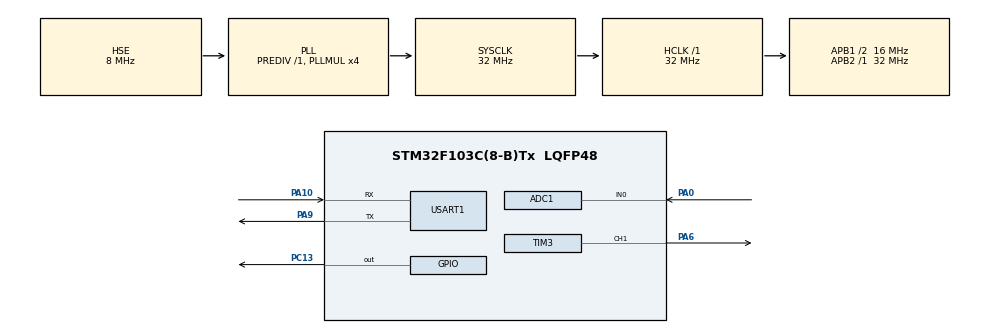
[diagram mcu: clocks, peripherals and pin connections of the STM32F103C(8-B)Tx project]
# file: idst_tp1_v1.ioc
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ADC1.Channel-0\#ChannelRegularConversion=ADC_CHANNEL_0
ADC1.NbrOfConversion=1
ADC1.NbrOfConversionFlag=1
ADC1.Rank-0\#ChannelRegularConversion=1
ADC1.SamplingTime-0\#ChannelRegularConversion=ADC_SAMPLETIME_1CYCLE_5
ADC1.master=1
Dma.ADC1.0.Direction=DMA_PERIPH_TO_MEMORY
Dma.ADC1.0.Instance=DMA1_Channel1
Dma.ADC1.0.MemDataAlignment=DMA_MDATAALIGN_WORD
Dma.ADC1.0.MemInc=DMA_MINC_ENABLE
Dma.ADC1.0.Mode=DMA_CIRCULAR
Dma.ADC1.0.PeriphDataAlignment=DMA_PDATAALIGN_WORD
Dma.ADC1.0.PeriphInc=DMA_PINC_DISABLE
Dma.ADC1.0.Priority=DMA_PRIORITY_LOW
Dma.Request0=ADC1
Mcu.Family=STM32F1
Mcu.Name=STM32F103C(8-B)Tx
Mcu.Package=LQFP48
NVIC.ADC1_2_IRQn=true\:0\:0\:false\:false\:true\:true\:true\:true
NVIC.DMA1_Channel1_IRQn=true\:0\:0\:false\:false\:true\:false\:true\:true
NVIC.PriorityGroup=NVIC_PRIORITYGROUP_4
PA0-WKUP.Signal=ADCx_IN0
PA10.Mode=Asynchronous
PA10.Signal=USART1_RX
PA13.Mode=Serial_Wire
PA13.Signal=SYS_JTMS-SWDIO
PA14.Mode=Serial_Wire
PA14.Signal=SYS_JTCK-SWCLK
PA6.Signal=S_TIM3_CH1
PA9.Mode=Asynchronous
PA9.Signal=USART1_TX
PC13-TAMPER-RTC.Signal=GPIO_Output
PD0-OSC_IN.Mode=HSE-External-Oscillator
PD0-OSC_IN.Signal=RCC_OSC_IN
PD1-OSC_OUT.Mode=HSE-External-Oscillator
PD1-OSC_OUT.Signal=RCC_OSC_OUT
ProjectManager.HeapSize=0x200
ProjectManager.StackSize=0x400
ProjectManager.TargetToolchain=STM32CubeIDE
RCC.ADCPresc=RCC_ADCPCLK2_DIV4
RCC.AHBFreq_Value=32000000
RCC.APB1CLKDivider=RCC_HCLK_DIV2
RCC.APB1Freq_Value=16000000
RCC.APB1TimFreq_Value=32000000
RCC.APB2Freq_Value=32000000
RCC.APB2TimFreq_Value=32000000
RCC.HCLKFreq_Value=32000000
RCC.PLLMUL=RCC_PLL_MUL4
RCC.PLLSourceVirtual=RCC_PLLSOURCE_HSE
RCC.SYSCLKFreq_VALUE=32000000
RCC.SYSCLKSource=RCC_SYSCLKSOURCE_PLLCLK
RCC.USBFreq_Value=32000000
SH.ADCx_IN0.0=ADC1_IN0,IN0
SH.S_TIM3_CH1.0=TIM3_CH1,PWM Generation1 CH1
TIM1.Period=1000
TIM1.Prescaler=32
TIM3.Channel-PWM\ Generation1\ CH1=TIM_CHANNEL_1
TIM3.Period=4096
USART1.VirtualMode=VM_ASYNC
VP_TIM1_VS_ClockSourceITR.Mode=TriggerSource_ITR0
VP_TIM1_VS_ControllerModeClock.Mode=Clock Mode
VP_TIM3_VS_ClockSourceINT.Mode=Internal
board=custom

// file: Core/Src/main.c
/* USER CODE BEGIN Header */
/**
  ******************************************************************************
  * @file           : main.c
  * @brief          : Main program body
  ******************************************************************************
  * @attention
  *
  * Copyright (c) 2023 STMicroelectronics.
  * All rights reserved.
  *
  * This software is licensed under terms that can be found in the LICENSE file
  * in the root directory of this software component.
  * If no LICENSE file comes with this software, it is provided AS-IS.
  *
  ******************************************************************************
  */
/* USER CODE END Header */
#include "main.h"

/* USER CODE BEGIN Includes */
#include "string.h"
#include <stdio.h>
#include <stdint.h>
/* USER CODE END Includes */

/* USER CODE BEGIN PM */
#define LED_HAPPY GPIOC, GPIO_PIN_13
/* USER CODE END PM */

ADC_HandleTypeDef hadc1;
DMA_HandleTypeDef hdma_adc1;

TIM_HandleTypeDef htim1;
TIM_HandleTypeDef htim3;

UART_HandleTypeDef huart1;

/* USER CODE BEGIN PV */

uint16_t timer = 0; //usado en la interrupcion

//! variables para el conversor adc
uint32_t adc_dma;

uint16_t adc_value;

uint8_t dataT[] = "Datos:\r\n";
uint8_t salto_linea[] = "\r\n";

/* USER CODE END PV */

void SystemClock_Config(void);
static void MX_GPIO_Init(void);
static void MX_DMA_Init(void);
static void MX_TIM3_Init(void);
static void MX_ADC1_Init(void);
static void MX_TIM1_Init(void);
static void MX_USART1_UART_Init(void);

int main(void)
{

  /* MCU Configuration--------------------------------------------------------*/

  /* Reset of all peripherals, Initializes the Flash interface and the Systick. */
  HAL_Init();

  /* Configure the system clock */
  SystemClock_Config();

  /* Initialize all configured peripherals */
  MX_GPIO_Init();
  MX_DMA_Init();
  MX_TIM3_Init();
  MX_ADC1_Init();
  MX_TIM1_Init();
  MX_USART1_UART_Init();
  /* USER CODE BEGIN 2 */
  HAL_TIM_PWM_Start(&htim3, TIM_CHANNEL_1); //inicializacion de pwm
  HAL_ADC_Start_DMA(&hadc1, &adc_dma, 1); //configuracion de dma
  HAL_ADC_Start_IT(&hadc1); //inicializacion del adc

  HAL_UART_Transmit(&huart1, dataT, strlen((char*)dataT), HAL_MAX_DELAY);

  /* USER CODE END 2 */

  /* Infinite loop */
  while (1)
  {

    /* USER CODE BEGIN 3 */
/*	  HAL_GPIO_TogglePin(LED_HAPPY);
	  HAL_Delay(100);
	  HAL_ADC_Start_IT(&hadc1);
	  HAL_Delay(adc_value);
*/
  }
  /* USER CODE END 3 */
}

void SystemClock_Config(void)
{
  RCC_OscInitTypeDef RCC_OscInitStruct = {0};
  RCC_ClkInitTypeDef RCC_ClkInitStruct = {0};
  RCC_PeriphCLKInitTypeDef PeriphClkInit = {0};

  /** Initializes the RCC Oscillators according to the specified parameters
  * in the RCC_OscInitTypeDef structure.
  */
  RCC_OscInitStruct.OscillatorType = RCC_OSCILLATORTYPE_HSE;
  RCC_OscInitStruct.HSEState = RCC_HSE_ON;
  RCC_OscInitStruct.HSEPredivValue = RCC_HSE_PREDIV_DIV1;
  RCC_OscInitStruct.HSIState = RCC_HSI_ON;
  RCC_OscInitStruct.PLL.PLLState = RCC_PLL_ON;
  RCC_OscInitStruct.PLL.PLLSource = RCC_PLLSOURCE_HSE;
  RCC_OscInitStruct.PLL.PLLMUL = RCC_PLL_MUL4;
  if (HAL_RCC_OscConfig(&RCC_OscInitStruct) != HAL_OK)
  {
    Error_Handler();
  }

  /** Initializes the CPU, AHB and APB buses clocks
  */
  RCC_ClkInitStruct.ClockType = RCC_CLOCKTYPE_HCLK|RCC_CLOCKTYPE_SYSCLK
                              |RCC_CLOCKTYPE_PCLK1|RCC_CLOCKTYPE_PCLK2;
  RCC_ClkInitStruct.SYSCLKSource = RCC_SYSCLKSOURCE_PLLCLK;
  RCC_ClkInitStruct.AHBCLKDivider = RCC_SYSCLK_DIV1;
  RCC_ClkInitStruct.APB1CLKDivider = RCC_HCLK_DIV2;
  RCC_ClkInitStruct.APB2CLKDivider = RCC_HCLK_DIV1;

  if (HAL_RCC_ClockConfig(&RCC_ClkInitStruct, FLASH_LATENCY_1) != HAL_OK)
  {
    Error_Handler();
  }
  PeriphClkInit.PeriphClockSelection = RCC_PERIPHCLK_ADC;
  PeriphClkInit.AdcClockSelection = RCC_ADCPCLK2_DIV4;
  if (HAL_RCCEx_PeriphCLKConfig(&PeriphClkInit) != HAL_OK)
  {
    Error_Handler();
  }
}

static void MX_ADC1_Init(void)
{

  ADC_ChannelConfTypeDef sConfig = {0};

  /** Common config
  */
  hadc1.Instance = ADC1;
  hadc1.Init.ScanConvMode = ADC_SCAN_DISABLE;
  hadc1.Init.ContinuousConvMode = DISABLE;
  hadc1.Init.DiscontinuousConvMode = DISABLE;
  hadc1.Init.ExternalTrigConv = ADC_SOFTWARE_START;
  hadc1.Init.DataAlign = ADC_DATAALIGN_RIGHT;
  hadc1.Init.NbrOfConversion = 1;
  if (HAL_ADC_Init(&hadc1) != HAL_OK)
  {
    Error_Handler();
  }

  /** Configure Regular Channel
  */
  sConfig.Channel = ADC_CHANNEL_0;
  sConfig.Rank = ADC_REGULAR_RANK_1;
  sConfig.SamplingTime = ADC_SAMPLETIME_1CYCLE_5;
  if (HAL_ADC_ConfigChannel(&hadc1, &sConfig) != HAL_OK)
  {
    Error_Handler();
  }

}

static void MX_TIM1_Init(void)
{

  TIM_SlaveConfigTypeDef sSlaveConfig = {0};
  TIM_MasterConfigTypeDef sMasterConfig = {0};

  htim1.Instance = TIM1;
  htim1.Init.Prescaler = 32;
  htim1.Init.CounterMode = TIM_COUNTERMODE_UP;
  htim1.Init.Period = 1000;
  htim1.Init.ClockDivision = TIM_CLOCKDIVISION_DIV1;
  htim1.Init.RepetitionCounter = 0;
  htim1.Init.AutoReloadPreload = TIM_AUTORELOAD_PRELOAD_DISABLE;
  if (HAL_TIM_Base_Init(&htim1) != HAL_OK)
  {
    Error_Handler();
  }
  sSlaveConfig.SlaveMode = TIM_SLAVEMODE_EXTERNAL1;
  sSlaveConfig.InputTrigger = TIM_TS_ITR0;
  if (HAL_TIM_SlaveConfigSynchro(&htim1, &sSlaveConfig) != HAL_OK)
  {
    Error_Handler();
  }
  sMasterConfig.MasterOutputTrigger = TIM_TRGO_RESET;
  sMasterConfig.MasterSlaveMode = TIM_MASTERSLAVEMODE_DISABLE;
  if (HAL_TIMEx_MasterConfigSynchronization(&htim1, &sMasterConfig) != HAL_OK)
  {
    Error_Handler();
  }

}

static void MX_TIM3_Init(void)
{

  TIM_ClockConfigTypeDef sClockSourceConfig = {0};
  TIM_MasterConfigTypeDef sMasterConfig = {0};
  TIM_OC_InitTypeDef sConfigOC = {0};

  htim3.Instance = TIM3;
  htim3.Init.Prescaler = 0;
  htim3.Init.CounterMode = TIM_COUNTERMODE_UP;
  htim3.Init.Period = 4096;
  htim3.Init.ClockDivision = TIM_CLOCKDIVISION_DIV1;
  htim3.Init.AutoReloadPreload = TIM_AUTORELOAD_PRELOAD_DISABLE;
  if (HAL_TIM_Base_Init(&htim3) != HAL_OK)
  {
    Error_Handler();
  }
  sClockSourceConfig.ClockSource = TIM_CLOCKSOURCE_INTERNAL;
  if (HAL_TIM_ConfigClockSource(&htim3, &sClockSourceConfig) != HAL_OK)
  {
    Error_Handler();
  }
  if (HAL_TIM_PWM_Init(&htim3) != HAL_OK)
  {
    Error_Handler();
  }
  sMasterConfig.MasterOutputTrigger = TIM_TRGO_RESET;
  sMasterConfig.MasterSlaveMode = TIM_MASTERSLAVEMODE_DISABLE;
  if (HAL_TIMEx_MasterConfigSynchronization(&htim3, &sMasterConfig) != HAL_OK)
  {
    Error_Handler();
  }
  sConfigOC.OCMode = TIM_OCMODE_PWM1;
  sConfigOC.Pulse = 0;
  sConfigOC.OCPolarity = TIM_OCPOLARITY_HIGH;
  sConfigOC.OCFastMode = TIM_OCFAST_DISABLE;
  if (HAL_TIM_PWM_ConfigChannel(&htim3, &sConfigOC, TIM_CHANNEL_1) != HAL_OK)
  {
    Error_Handler();
  }
  HAL_TIM_MspPostInit(&htim3);

}

static void MX_USART1_UART_Init(void)
{

  huart1.Instance = USART1;
  huart1.Init.BaudRate = 115200;
  huart1.Init.WordLength = UART_WORDLENGTH_8B;
  huart1.Init.StopBits = UART_STOPBITS_1;
  huart1.Init.Parity = UART_PARITY_NONE;
  huart1.Init.Mode = UART_MODE_TX_RX;
  huart1.Init.HwFlowCtl = UART_HWCONTROL_NONE;
  huart1.Init.OverSampling = UART_OVERSAMPLING_16;
  if (HAL_UART_Init(&huart1) != HAL_OK)
  {
    Error_Handler();
  }

}

static void MX_DMA_Init(void)
{

  /* DMA controller clock enable */
  __HAL_RCC_DMA1_CLK_ENABLE();

  /* DMA interrupt init */
  /* DMA1_Channel1_IRQn interrupt configuration */
  HAL_NVIC_SetPriority(DMA1_Channel1_IRQn, 0, 0);
  HAL_NVIC_EnableIRQ(DMA1_Channel1_IRQn);

}

static void MX_GPIO_Init(void)
{
  GPIO_InitTypeDef GPIO_InitStruct = {0};

  /* GPIO Ports Clock Enable */
  __HAL_RCC_GPIOC_CLK_ENABLE();
  __HAL_RCC_GPIOD_CLK_ENABLE();
  __HAL_RCC_GPIOA_CLK_ENABLE();

  /*Configure GPIO pin Output Level */
  HAL_GPIO_WritePin(GPIOC, GPIO_PIN_13, GPIO_PIN_RESET);

  /*Configure GPIO pin : PC13 */
  GPIO_InitStruct.Pin = GPIO_PIN_13;
  GPIO_InitStruct.Mode = GPIO_MODE_OUTPUT_PP;
  GPIO_InitStruct.Pull = GPIO_NOPULL;
  GPIO_InitStruct.Speed = GPIO_SPEED_FREQ_LOW;
  HAL_GPIO_Init(GPIOC, &GPIO_InitStruct);

}

/* USER CODE BEGIN 4 */
//! Funcion que se llama cada cierto tiempo por interrupcion (1 mS)
void HAL_IncTick(void){
	uwTick += uwTickFreq;
	timer = (timer + 1) % 500; //toggle cada 500 ms
	if (0 == timer) {
		HAL_GPIO_TogglePin(LED_HAPPY);
		sprintf(dataT, "%u", adc_value);
		HAL_UART_Transmit(&huart1, dataT, strlen((char*)dataT), HAL_MAX_DELAY);
		HAL_UART_Transmit(&huart1, salto_linea, strlen((char*)salto_linea), HAL_MAX_DELAY);
	}
	HAL_ADC_Start_IT(&hadc1);

	htim3.Instance->CCR1 = adc_value; //se actualiza el ciclo de trabajo con el potenciometro

	//HAL_UART_Transmit(&huart1, adc_value, strlen((char*)adc_value), HAL_MAX_DELAY);
}

//! Codigo para convercion adc
void HAL_ADC_ConvCpltCallback(ADC_HandleTypeDef * hadc) {
    if (hadc->Instance == ADC1) {
        adc_value = (uint16_t)adc_dma;

    }
}
/* USER CODE END 4 */

void Error_Handler(void)
{
  __disable_irq();
  while (1)
  {
  }
}
